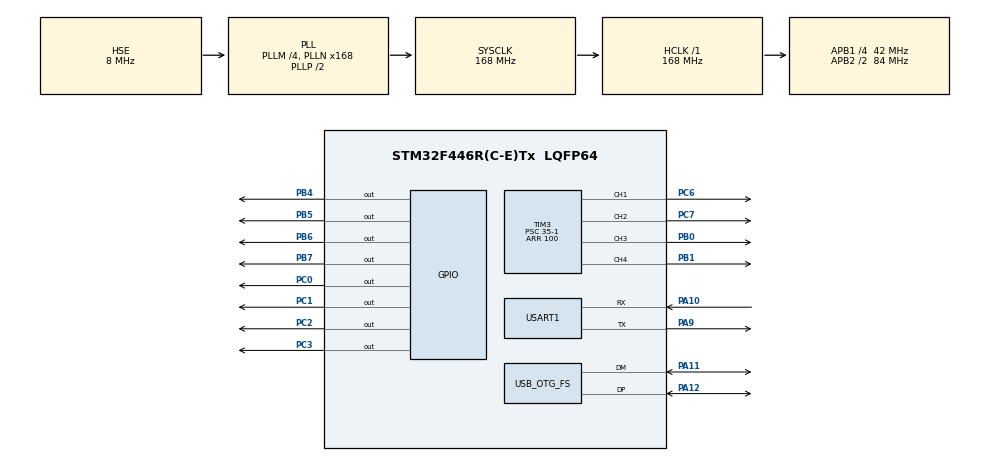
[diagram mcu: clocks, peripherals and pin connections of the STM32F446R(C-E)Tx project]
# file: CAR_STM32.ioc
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Mcu.Family=STM32F4
Mcu.Name=STM32F446R(C-E)Tx
Mcu.Package=LQFP64
NVIC.OTG_FS_IRQn=true\:0\:0\:false\:false\:true\:false\:true\:true
NVIC.PriorityGroup=NVIC_PRIORITYGROUP_4
NVIC.USART1_IRQn=true\:0\:0\:false\:false\:true\:true\:true\:true
PA10.Mode=Asynchronous
PA10.Signal=USART1_RX
PA11.Mode=Device_Only
PA11.Signal=USB_OTG_FS_DM
PA12.Mode=Device_Only
PA12.Signal=USB_OTG_FS_DP
PA9.Mode=Asynchronous
PA9.Signal=USART1_TX
PB0.Signal=S_TIM3_CH3
PB1.Signal=S_TIM3_CH4
PB4.Signal=GPIO_Output
PB5.Signal=GPIO_Output
PB6.Signal=GPIO_Output
PB7.Signal=GPIO_Output
PC0.Signal=GPIO_Output
PC1.Signal=GPIO_Output
PC2.Signal=GPIO_Output
PC3.Signal=GPIO_Output
PC6.Signal=S_TIM3_CH1
PC7.Signal=S_TIM3_CH2
PH0-OSC_IN.Mode=HSE-External-Oscillator
PH0-OSC_IN.Signal=RCC_OSC_IN
PH1-OSC_OUT.Mode=HSE-External-Oscillator
PH1-OSC_OUT.Signal=RCC_OSC_OUT
ProjectManager.HeapSize=0x200
ProjectManager.StackSize=0x400
ProjectManager.TargetToolchain=STM32CubeIDE
RCC.AHBFreq_Value=168000000
RCC.APB1CLKDivider=RCC_HCLK_DIV4
RCC.APB1Freq_Value=42000000
RCC.APB1TimFreq_Value=84000000
RCC.APB2CLKDivider=RCC_HCLK_DIV2
RCC.APB2Freq_Value=84000000
RCC.APB2TimFreq_Value=168000000
RCC.CortexFreq_Value=168000000
RCC.HCLKFreq_Value=168000000
RCC.HSE_VALUE=8000000
RCC.PLLM=4
RCC.PLLN=168
RCC.PLLQ=7
RCC.PLLSourceVirtual=RCC_PLLSOURCE_HSE
RCC.SYSCLKFreq_VALUE=168000000
RCC.SYSCLKSource=RCC_SYSCLKSOURCE_PLLCLK
RCC.USBFreq_Value=48000000
RCC.VCOOutputFreq_Value=336000000
SH.S_TIM3_CH1.0=TIM3_CH1,PWM Generation1 CH1
SH.S_TIM3_CH2.0=TIM3_CH2,PWM Generation2 CH2
SH.S_TIM3_CH3.0=TIM3_CH3,PWM Generation3 CH3
SH.S_TIM3_CH4.0=TIM3_CH4,PWM Generation4 CH4
TIM3.Channel-PWM\ Generation1\ CH1=TIM_CHANNEL_1
TIM3.Channel-PWM\ Generation2\ CH2=TIM_CHANNEL_2
TIM3.Channel-PWM\ Generation3\ CH3=TIM_CHANNEL_3
TIM3.Channel-PWM\ Generation4\ CH4=TIM_CHANNEL_4
TIM3.Period=100
TIM3.Prescaler=35-1
USART1.VirtualMode=VM_ASYNC
USB_DEVICE.CLASS_NAME_FS=CDC
USB_DEVICE.VirtualMode-CDC_FS=Cdc
USB_DEVICE.VirtualModeFS=Cdc_FS
USB_OTG_FS.VirtualMode=Device_Only
VP_TIM3_VS_ClockSourceINT.Mode=Internal
VP_USB_DEVICE_VS_USB_DEVICE_CDC_FS.Mode=CDC_FS
board=custom

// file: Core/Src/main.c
/* USER CODE BEGIN Header */
/**
  ******************************************************************************
  * @file           : main.c
  * @brief          : Main program body
  ******************************************************************************
  * @attention
  *
  * Copyright (c) 2025 STMicroelectronics.
  * All rights reserved.
  *
  * This software is licensed under terms that can be found in the LICENSE file
  * in the root directory of this software component.
  * If no LICENSE file comes with this software, it is provided AS-IS.
  *
  ******************************************************************************
  */
/* USER CODE END Header */
#include "main.h"
#include "usb_device.h"

/* USER CODE BEGIN Includes */
#include "usbd_cdc_if.h"
#include <string.h>
#include <math.h>
/* USER CODE END Includes */

/* USER CODE BEGIN PD */
#define TRUE 1
#define PI 3.14159265
/* USER CODE END PD */

TIM_HandleTypeDef htim3;

UART_HandleTypeDef huart1;

void SystemClock_Config(void);
static void MX_GPIO_Init(void);
static void MX_TIM3_Init(void);
static void MX_USART1_UART_Init(void);

/* USER CODE BEGIN 0 */

char RxBuff[7]; //Received data buffer
char usbCdcData[30];
int speed = 80;
int clutch = 0;

void motorStop() // Tested and works
{
	CDC_Transmit_FS((uint8_t*)"Motors Stop\r\n", strlen("Motors Stop\r\n"));

    TIM1->CCR1 = 0;
    TIM1->CCR2 = 0;
    TIM1->CCR3 = 0;
    TIM1->CCR4 = 0;
	//Front Right
	HAL_GPIO_WritePin(GPIOC, GPIO_PIN_0, GPIO_PIN_RESET);
	HAL_GPIO_WritePin(GPIOC, GPIO_PIN_1, GPIO_PIN_RESET);
	//htim3.Instance->CCR1 = 0;

	//Rear Right
	HAL_GPIO_WritePin(GPIOC, GPIO_PIN_2, GPIO_PIN_RESET);
	HAL_GPIO_WritePin(GPIOC, GPIO_PIN_3, GPIO_PIN_RESET);
	//htim3.Instance->CCR2 = 0;

	//Front Left
	HAL_GPIO_WritePin(GPIOB, GPIO_PIN_7, GPIO_PIN_RESET);
	HAL_GPIO_WritePin(GPIOB, GPIO_PIN_6, GPIO_PIN_RESET);
	//htim3.Instance->CCR3 = 0;

	//Rear Left
	HAL_GPIO_WritePin(GPIOB, GPIO_PIN_5, GPIO_PIN_RESET);
	HAL_GPIO_WritePin(GPIOB, GPIO_PIN_4, GPIO_PIN_RESET);
	//htim3.Instance->CCR4 = 0;

	//HAL_Delay(2000);	//Let them run in that direction for 2 seconds
}

void motorDriveForward(uint8_t speed) // Tested and works
{
	CDC_Transmit_FS((uint8_t*)"Driving forward\r\n", strlen("Driving forward\r\n"));

	//Front Right
	HAL_GPIO_WritePin(GPIOC, GPIO_PIN_0, GPIO_PIN_SET);
	HAL_GPIO_WritePin(GPIOC, GPIO_PIN_1, GPIO_PIN_RESET);
	htim3.Instance->CCR1 = speed;

	//Rear Right
	HAL_GPIO_WritePin(GPIOC, GPIO_PIN_2, GPIO_PIN_SET);
	HAL_GPIO_WritePin(GPIOC, GPIO_PIN_3, GPIO_PIN_RESET);
	htim3.Instance->CCR2 = speed;

	//Front Left
	HAL_GPIO_WritePin(GPIOB, GPIO_PIN_7, GPIO_PIN_RESET);
	HAL_GPIO_WritePin(GPIOB, GPIO_PIN_6, GPIO_PIN_SET);
	htim3.Instance->CCR3 = speed;

	//Rear Left
	HAL_GPIO_WritePin(GPIOB, GPIO_PIN_5, GPIO_PIN_RESET);
	HAL_GPIO_WritePin(GPIOB, GPIO_PIN_4, GPIO_PIN_SET);
	htim3.Instance->CCR4 = speed;

	//HAL_Delay(2000);	//Let them run in that direction for 2 seconds
}

void motorDriveBackward(uint8_t speed) // Tested and works
{
	CDC_Transmit_FS((uint8_t*)"Driving backward\r\n", strlen("Driving backward\r\n"));

	//Front Right
	HAL_GPIO_WritePin(GPIOC, GPIO_PIN_0, GPIO_PIN_RESET);
	HAL_GPIO_WritePin(GPIOC, GPIO_PIN_1, GPIO_PIN_SET);
	htim3.Instance->CCR1 = speed;

	//Rear Right
	HAL_GPIO_WritePin(GPIOC, GPIO_PIN_2, GPIO_PIN_RESET);
	HAL_GPIO_WritePin(GPIOC, GPIO_PIN_3, GPIO_PIN_SET);
	htim3.Instance->CCR2 = speed;

	//Front Left
	HAL_GPIO_WritePin(GPIOB, GPIO_PIN_7, GPIO_PIN_SET);
	HAL_GPIO_WritePin(GPIOB, GPIO_PIN_6, GPIO_PIN_RESET);
	htim3.Instance->CCR3 = speed;

	//Rear Left
	HAL_GPIO_WritePin(GPIOB, GPIO_PIN_5, GPIO_PIN_SET);
	HAL_GPIO_WritePin(GPIOB, GPIO_PIN_4, GPIO_PIN_RESET);
	htim3.Instance->CCR4 = speed;

	//HAL_Delay(2000);	//Let them run in that direction for 2 seconds
}

void motorDriveDForwardRight(uint8_t speed) // Tested and works
{
	CDC_Transmit_FS((uint8_t*)"Driving Diagonally Forward Right\r\n", strlen("Driving Diagonally Forward Right\r\n"));

	//Front Right
	HAL_GPIO_WritePin(GPIOC, GPIO_PIN_0, GPIO_PIN_SET);
	HAL_GPIO_WritePin(GPIOC, GPIO_PIN_1, GPIO_PIN_RESET);
	htim3.Instance->CCR1 = speed;

	//Rear Right
	HAL_GPIO_WritePin(GPIOC, GPIO_PIN_2, GPIO_PIN_SET);
	HAL_GPIO_WritePin(GPIOC, GPIO_PIN_3, GPIO_PIN_RESET);
	htim3.Instance->CCR2 = speed-40;

	//Front Left
	HAL_GPIO_WritePin(GPIOB, GPIO_PIN_7, GPIO_PIN_RESET);
	HAL_GPIO_WritePin(GPIOB, GPIO_PIN_6, GPIO_PIN_SET);
	htim3.Instance->CCR3 = speed-40;

	//Rear Left
	HAL_GPIO_WritePin(GPIOB, GPIO_PIN_5, GPIO_PIN_RESET);
	HAL_GPIO_WritePin(GPIOB, GPIO_PIN_4, GPIO_PIN_SET);
	htim3.Instance->CCR4 = speed;

	//HAL_Delay(2000);	//Let them run in that direction for 2 seconds
}

void motorDriveDForwardLeft(uint8_t speed) // Tested and works
{
	CDC_Transmit_FS((uint8_t*)"Driving Diagonally Forward Left\r\n", strlen("Driving Diagonally Forward Right\r\n"));

	//Front Right
	HAL_GPIO_WritePin(GPIOC, GPIO_PIN_0, GPIO_PIN_SET);
	HAL_GPIO_WritePin(GPIOC, GPIO_PIN_1, GPIO_PIN_RESET);
	htim3.Instance->CCR1 = speed-40;

	//Rear Right
	HAL_GPIO_WritePin(GPIOC, GPIO_PIN_2, GPIO_PIN_SET);
	HAL_GPIO_WritePin(GPIOC, GPIO_PIN_3, GPIO_PIN_RESET);
	htim3.Instance->CCR2 = speed;

	//Front Left
	HAL_GPIO_WritePin(GPIOB, GPIO_PIN_7, GPIO_PIN_RESET);
	HAL_GPIO_WritePin(GPIOB, GPIO_PIN_6, GPIO_PIN_SET);
	htim3.Instance->CCR3 = speed;

	//Rear Left
	HAL_GPIO_WritePin(GPIOB, GPIO_PIN_5, GPIO_PIN_RESET);
	HAL_GPIO_WritePin(GPIOB, GPIO_PIN_4, GPIO_PIN_SET);
	htim3.Instance->CCR4 = speed-40;

	//HAL_Delay(2000);	//Let them run in that direction for 2 seconds
}

void motorDriveDBackwardLeft(uint8_t speed) // Tested and works
{
	CDC_Transmit_FS((uint8_t*)"Driving Diagonally Backward Left\r\n", strlen("Driving Diagonally Backward Left\r\n"));

	//Front Right
	HAL_GPIO_WritePin(GPIOC, GPIO_PIN_0, GPIO_PIN_RESET);
	HAL_GPIO_WritePin(GPIOC, GPIO_PIN_1, GPIO_PIN_SET);
	htim3.Instance->CCR1 = speed;

	//Rear Right
	HAL_GPIO_WritePin(GPIOC, GPIO_PIN_2, GPIO_PIN_RESET);
	HAL_GPIO_WritePin(GPIOC, GPIO_PIN_3, GPIO_PIN_SET);
	htim3.Instance->CCR2 = speed-40;

	//Front Left
	HAL_GPIO_WritePin(GPIOB, GPIO_PIN_7, GPIO_PIN_SET);
	HAL_GPIO_WritePin(GPIOB, GPIO_PIN_6, GPIO_PIN_RESET);
	htim3.Instance->CCR3 = speed-40;

	//Rear Left
	HAL_GPIO_WritePin(GPIOB, GPIO_PIN_5, GPIO_PIN_SET);
	HAL_GPIO_WritePin(GPIOB, GPIO_PIN_4, GPIO_PIN_RESET);
	htim3.Instance->CCR4 = speed;

	//HAL_Delay(2000);	//Let them run in that direction for 2 seconds
}

void motorDriveDBackwardRight(uint8_t speed) // Tested and works
{
	CDC_Transmit_FS((uint8_t*)"Driving Diagonally Backward Right\r\n", strlen("Driving Diagonally Backward Right\r\n"));

	//Front Right
	HAL_GPIO_WritePin(GPIOC, GPIO_PIN_0, GPIO_PIN_RESET);
	HAL_GPIO_WritePin(GPIOC, GPIO_PIN_1, GPIO_PIN_SET);
	htim3.Instance->CCR1 = speed-40;

	//Rear Right
	HAL_GPIO_WritePin(GPIOC, GPIO_PIN_2, GPIO_PIN_RESET);
	HAL_GPIO_WritePin(GPIOC, GPIO_PIN_3, GPIO_PIN_SET);
	htim3.Instance->CCR2 = speed;

	//Front Left
	HAL_GPIO_WritePin(GPIOB, GPIO_PIN_7, GPIO_PIN_SET);
	HAL_GPIO_WritePin(GPIOB, GPIO_PIN_6, GPIO_PIN_RESET);
	htim3.Instance->CCR3 = speed;

	//Rear Left
	HAL_GPIO_WritePin(GPIOB, GPIO_PIN_5, GPIO_PIN_SET);
	HAL_GPIO_WritePin(GPIOB, GPIO_PIN_4, GPIO_PIN_RESET);
	htim3.Instance->CCR4 = speed-40;

	//HAL_Delay(2000);	//Let them run in that direction for 2 seconds
}

void motorDriveSpinRight(uint8_t speed) // Tested and works
{
	CDC_Transmit_FS((uint8_t*)"Car spin to the right (Clockwise)\r\n", strlen("Car spin to the right (Clockwise)\r\n"));

	//Front Right
	HAL_GPIO_WritePin(GPIOC, GPIO_PIN_0, GPIO_PIN_SET);
	HAL_GPIO_WritePin(GPIOC, GPIO_PIN_1, GPIO_PIN_RESET);
	htim3.Instance->CCR1 = speed;

	//Rear Right
	HAL_GPIO_WritePin(GPIOC, GPIO_PIN_2, GPIO_PIN_SET);
	HAL_GPIO_WritePin(GPIOC, GPIO_PIN_3, GPIO_PIN_RESET);
	htim3.Instance->CCR2 = speed;

	//Front Left
	HAL_GPIO_WritePin(GPIOB, GPIO_PIN_7, GPIO_PIN_SET);
	HAL_GPIO_WritePin(GPIOB, GPIO_PIN_6, GPIO_PIN_RESET);
	htim3.Instance->CCR3 = speed;

	//Rear Left
	HAL_GPIO_WritePin(GPIOB, GPIO_PIN_5, GPIO_PIN_SET);
	HAL_GPIO_WritePin(GPIOB, GPIO_PIN_4, GPIO_PIN_RESET);
	htim3.Instance->CCR4 = speed;

	//HAL_Delay(2000);	//Let them run in that direction for 2 seconds
}

void motorDriveSpinLeft(uint8_t speed) // Tested and works
{
	CDC_Transmit_FS((uint8_t*)"Car spin to the left (CounterClockwise)\r\n", strlen("Car spin to the light (CounterClockwise)\r\n"));

	//Front Right
	HAL_GPIO_WritePin(GPIOC, GPIO_PIN_0, GPIO_PIN_RESET);
	HAL_GPIO_WritePin(GPIOC, GPIO_PIN_1, GPIO_PIN_SET);
	htim3.Instance->CCR1 = speed;

	//Rear Right
	HAL_GPIO_WritePin(GPIOC, GPIO_PIN_2, GPIO_PIN_RESET);
	HAL_GPIO_WritePin(GPIOC, GPIO_PIN_3, GPIO_PIN_SET);
	htim3.Instance->CCR2 = speed;

	//Front Left
	HAL_GPIO_WritePin(GPIOB, GPIO_PIN_7, GPIO_PIN_RESET);
	HAL_GPIO_WritePin(GPIOB, GPIO_PIN_6, GPIO_PIN_SET);
	htim3.Instance->CCR3 = speed;

	//Rear Left
	HAL_GPIO_WritePin(GPIOB, GPIO_PIN_5, GPIO_PIN_RESET);
	HAL_GPIO_WritePin(GPIOB, GPIO_PIN_4, GPIO_PIN_SET);
	htim3.Instance->CCR4 = speed;

	//HAL_Delay(2000);	//Let them run in that direction for 2 seconds
}

void motorDriveSideLeft(uint8_t speed) // Tested and works
{
	CDC_Transmit_FS((uint8_t*)"Driving Sideways to the left\r\n", strlen("Driving Sideways to the left\r\n"));

	//Front Right
	HAL_GPIO_WritePin(GPIOC, GPIO_PIN_0, GPIO_PIN_RESET);
	HAL_GPIO_WritePin(GPIOC, GPIO_PIN_1, GPIO_PIN_SET);
	htim3.Instance->CCR1 = speed;

	//Rear Right
	HAL_GPIO_WritePin(GPIOC, GPIO_PIN_2, GPIO_PIN_SET);
	HAL_GPIO_WritePin(GPIOC, GPIO_PIN_3, GPIO_PIN_RESET);
	htim3.Instance->CCR2 = speed;

	//Front Left
	HAL_GPIO_WritePin(GPIOB, GPIO_PIN_7, GPIO_PIN_SET);
	HAL_GPIO_WritePin(GPIOB, GPIO_PIN_6, GPIO_PIN_RESET);
	htim3.Instance->CCR3 = speed;

	//Rear Left
	HAL_GPIO_WritePin(GPIOB, GPIO_PIN_5, GPIO_PIN_RESET);
	HAL_GPIO_WritePin(GPIOB, GPIO_PIN_4, GPIO_PIN_SET);
	htim3.Instance->CCR4 = speed;

	//HAL_Delay(2000);	//Let them run in that direction for 2 seconds
}

void motorDriveSideRight(uint8_t speed) // Tested and works
{
	CDC_Transmit_FS((uint8_t*)"Driving Sideways to the right\r\n", strlen("Driving Sideways to the right\r\n"));

	//Front Right
	HAL_GPIO_WritePin(GPIOC, GPIO_PIN_0, GPIO_PIN_SET);
	HAL_GPIO_WritePin(GPIOC, GPIO_PIN_1, GPIO_PIN_RESET);
	htim3.Instance->CCR1 = speed;

	//Rear Right
	HAL_GPIO_WritePin(GPIOC, GPIO_PIN_2, GPIO_PIN_RESET);
	HAL_GPIO_WritePin(GPIOC, GPIO_PIN_3, GPIO_PIN_SET);
	htim3.Instance->CCR2 = speed;

	//Front Left
	HAL_GPIO_WritePin(GPIOB, GPIO_PIN_7, GPIO_PIN_RESET);
	HAL_GPIO_WritePin(GPIOB, GPIO_PIN_6, GPIO_PIN_SET);
	htim3.Instance->CCR3 = speed;

	//Rear Left
	HAL_GPIO_WritePin(GPIOB, GPIO_PIN_5, GPIO_PIN_SET);
	HAL_GPIO_WritePin(GPIOB, GPIO_PIN_4, GPIO_PIN_RESET);
	htim3.Instance->CCR4 = speed;

	//HAL_Delay(2000);	//Let them run in that direction for 2 seconds
}

/* USER CODE END 0 */

int main(void)
{

  /* MCU Configuration--------------------------------------------------------*/

  /* Reset of all peripherals, Initializes the Flash interface and the Systick. */
  HAL_Init();

  /* Configure the system clock */
  SystemClock_Config();

  /* Initialize all configured peripherals */
  MX_GPIO_Init();
  MX_USB_DEVICE_Init();
  MX_TIM3_Init();
  MX_USART1_UART_Init();
  /* USER CODE BEGIN 2 */
  HAL_TIM_PWM_Start(&htim3, TIM_CHANNEL_1);
  HAL_TIM_PWM_Start(&htim3, TIM_CHANNEL_2);
  HAL_TIM_PWM_Start(&htim3, TIM_CHANNEL_3);
  HAL_TIM_PWM_Start(&htim3, TIM_CHANNEL_4);

  // Start the first UART receive interrupt
  HAL_UART_Receive_IT(&huart1, RxBuff, 7);

//  Duty cycle
  htim3.Instance->CCR1 = 50;
  htim3.Instance->CCR2 = 50;
  htim3.Instance->CCR3 = 50;
  htim3.Instance->CCR4 = 50;
  /* USER CODE END 2 */

  /* Infinite loop */
  /* USER CODE BEGIN WHILE */
  while (TRUE)
  {
    /* USER CODE END WHILE */

    /* USER CODE BEGIN 3 */
	  //Motor Code

	  /*motorDriveForward(speed);
	  HAL_Delay(1000);
	  motorStop();
	  HAL_Delay(1000);
	  motorDriveBackward(speed);
	  HAL_Delay(1000);
	  motorStop();
	  HAL_Delay(1000);
	  motorDriveDForwardLeft(speed);
	  motorStop();
	  motorDriveDForwardRight(speed);
	  motorStop();
	  motorDriveDBackwardLeft(speed);
      motorStop();
	  motorDriveDBackwardRight(speed);
      motorStop();
	  motorDriveSpinRight(speed);
      motorStop();
	  motorDriveSpinLeft(speed);
      motorStop();
      motorDriveSideRight(speed);
      motorStop();
      motorDriveSideLeft(speed);
      motorStop();
      */

  }
  /* USER CODE END 3 */
}

void SystemClock_Config(void)
{
  RCC_OscInitTypeDef RCC_OscInitStruct = {0};
  RCC_ClkInitTypeDef RCC_ClkInitStruct = {0};

  /** Configure the main internal regulator output voltage
  */
  __HAL_RCC_PWR_CLK_ENABLE();
  __HAL_PWR_VOLTAGESCALING_CONFIG(PWR_REGULATOR_VOLTAGE_SCALE1);

  /** Initializes the RCC Oscillators according to the specified parameters
  * in the RCC_OscInitTypeDef structure.
  */
  RCC_OscInitStruct.OscillatorType = RCC_OSCILLATORTYPE_HSE;
  RCC_OscInitStruct.HSEState = RCC_HSE_ON;
  RCC_OscInitStruct.PLL.PLLState = RCC_PLL_ON;
  RCC_OscInitStruct.PLL.PLLSource = RCC_PLLSOURCE_HSE;
  RCC_OscInitStruct.PLL.PLLM = 4;
  RCC_OscInitStruct.PLL.PLLN = 168;
  RCC_OscInitStruct.PLL.PLLP = RCC_PLLP_DIV2;
  RCC_OscInitStruct.PLL.PLLQ = 7;
  RCC_OscInitStruct.PLL.PLLR = 2;
  if (HAL_RCC_OscConfig(&RCC_OscInitStruct) != HAL_OK)
  {
    Error_Handler();
  }

  /** Initializes the CPU, AHB and APB buses clocks
  */
  RCC_ClkInitStruct.ClockType = RCC_CLOCKTYPE_HCLK|RCC_CLOCKTYPE_SYSCLK
                              |RCC_CLOCKTYPE_PCLK1|RCC_CLOCKTYPE_PCLK2;
  RCC_ClkInitStruct.SYSCLKSource = RCC_SYSCLKSOURCE_PLLCLK;
  RCC_ClkInitStruct.AHBCLKDivider = RCC_SYSCLK_DIV1;
  RCC_ClkInitStruct.APB1CLKDivider = RCC_HCLK_DIV4;
  RCC_ClkInitStruct.APB2CLKDivider = RCC_HCLK_DIV2;

  if (HAL_RCC_ClockConfig(&RCC_ClkInitStruct, FLASH_LATENCY_5) != HAL_OK)
  {
    Error_Handler();
  }
}

static void MX_TIM3_Init(void)
{

  TIM_ClockConfigTypeDef sClockSourceConfig = {0};
  TIM_MasterConfigTypeDef sMasterConfig = {0};
  TIM_OC_InitTypeDef sConfigOC = {0};

  htim3.Instance = TIM3;
  htim3.Init.Prescaler = 35-1;
  htim3.Init.CounterMode = TIM_COUNTERMODE_UP;
  htim3.Init.Period = 100;
  htim3.Init.ClockDivision = TIM_CLOCKDIVISION_DIV1;
  htim3.Init.AutoReloadPreload = TIM_AUTORELOAD_PRELOAD_DISABLE;
  if (HAL_TIM_Base_Init(&htim3) != HAL_OK)
  {
    Error_Handler();
  }
  sClockSourceConfig.ClockSource = TIM_CLOCKSOURCE_INTERNAL;
  if (HAL_TIM_ConfigClockSource(&htim3, &sClockSourceConfig) != HAL_OK)
  {
    Error_Handler();
  }
  if (HAL_TIM_PWM_Init(&htim3) != HAL_OK)
  {
    Error_Handler();
  }
  sMasterConfig.MasterOutputTrigger = TIM_TRGO_RESET;
  sMasterConfig.MasterSlaveMode = TIM_MASTERSLAVEMODE_DISABLE;
  if (HAL_TIMEx_MasterConfigSynchronization(&htim3, &sMasterConfig) != HAL_OK)
  {
    Error_Handler();
  }
  sConfigOC.OCMode = TIM_OCMODE_PWM1;
  sConfigOC.Pulse = 0;
  sConfigOC.OCPolarity = TIM_OCPOLARITY_HIGH;
  sConfigOC.OCFastMode = TIM_OCFAST_DISABLE;
  if (HAL_TIM_PWM_ConfigChannel(&htim3, &sConfigOC, TIM_CHANNEL_1) != HAL_OK)
  {
    Error_Handler();
  }
  if (HAL_TIM_PWM_ConfigChannel(&htim3, &sConfigOC, TIM_CHANNEL_2) != HAL_OK)
  {
    Error_Handler();
  }
  if (HAL_TIM_PWM_ConfigChannel(&htim3, &sConfigOC, TIM_CHANNEL_3) != HAL_OK)
  {
    Error_Handler();
  }
  if (HAL_TIM_PWM_ConfigChannel(&htim3, &sConfigOC, TIM_CHANNEL_4) != HAL_OK)
  {
    Error_Handler();
  }
  HAL_TIM_MspPostInit(&htim3);

}

static void MX_USART1_UART_Init(void)
{

  huart1.Instance = USART1;
  huart1.Init.BaudRate = 115200;
  huart1.Init.WordLength = UART_WORDLENGTH_8B;
  huart1.Init.StopBits = UART_STOPBITS_1;
  huart1.Init.Parity = UART_PARITY_NONE;
  huart1.Init.Mode = UART_MODE_TX_RX;
  huart1.Init.HwFlowCtl = UART_HWCONTROL_NONE;
  huart1.Init.OverSampling = UART_OVERSAMPLING_16;
  if (HAL_UART_Init(&huart1) != HAL_OK)
  {
    Error_Handler();
  }

}

static void MX_GPIO_Init(void)
{
  GPIO_InitTypeDef GPIO_InitStruct = {0};

  /* GPIO Ports Clock Enable */
  __HAL_RCC_GPIOH_CLK_ENABLE();
  __HAL_RCC_GPIOC_CLK_ENABLE();
  __HAL_RCC_GPIOB_CLK_ENABLE();
  __HAL_RCC_GPIOA_CLK_ENABLE();

  /*Configure GPIO pin Output Level */
  HAL_GPIO_WritePin(GPIOC, GPIO_PIN_0|GPIO_PIN_1|GPIO_PIN_2|GPIO_PIN_3, GPIO_PIN_RESET);

  /*Configure GPIO pin Output Level */
  HAL_GPIO_WritePin(GPIOB, GPIO_PIN_4|GPIO_PIN_5|GPIO_PIN_6|GPIO_PIN_7, GPIO_PIN_RESET);

  /*Configure GPIO pins : PC0 PC1 PC2 PC3 */
  GPIO_InitStruct.Pin = GPIO_PIN_0|GPIO_PIN_1|GPIO_PIN_2|GPIO_PIN_3;
  GPIO_InitStruct.Mode = GPIO_MODE_OUTPUT_PP;
  GPIO_InitStruct.Pull = GPIO_NOPULL;
  GPIO_InitStruct.Speed = GPIO_SPEED_FREQ_LOW;
  HAL_GPIO_Init(GPIOC, &GPIO_InitStruct);

  /*Configure GPIO pins : PB4 PB5 PB6 PB7 */
  GPIO_InitStruct.Pin = GPIO_PIN_4|GPIO_PIN_5|GPIO_PIN_6|GPIO_PIN_7;
  GPIO_InitStruct.Mode = GPIO_MODE_OUTPUT_PP;
  GPIO_InitStruct.Pull = GPIO_NOPULL;
  GPIO_InitStruct.Speed = GPIO_SPEED_FREQ_LOW;
  HAL_GPIO_Init(GPIOB, &GPIO_InitStruct);

}

/* USER CODE BEGIN 4 */
void HAL_UART_RxCpltCallback(UART_HandleTypeDef *huart)
{
	sprintf(usbCdcData,"Received: %s\r\n",RxBuff);
	CDC_Transmit_FS((uint8_t*)usbCdcData,sizeof(usbCdcData));

	if (huart->Instance == USART1)
	{
		if(!strcmp(RxBuff, "TOGGLED"))
		{
			if(clutch == 0)
			{
				clutch++;
			}
			else if(clutch == 1)
			{
				clutch--;
			}
		}
		if(clutch == 0)
		{
			if(!strcmp(RxBuff,"MOVE_F0"))
			{
				motorDriveForward(speed);
			}
			else if(!strcmp(RxBuff,"MOVE_F1"))
			{
				motorDriveBackward(speed);
			}
			else if(!strcmp(RxBuff,"MOVE_F2"))
			{
				motorDriveDForwardLeft(speed);
			}
			else if(!strcmp(RxBuff,"MOVE_F3"))
			{
				motorDriveDForwardRight(speed);
			}
			else if(!strcmp(RxBuff,"MOVE_F4"))
			{
				motorDriveDBackwardLeft(speed);
			}
			else if(!strcmp(RxBuff, "MOVE_F5"))
			{
				motorStop();
			}
		}
		else if(clutch == 1)
		{
			if(!strcmp(RxBuff,"MOVE_F0"))
			{
				motorDriveDBackwardRight(speed);
			}
			else if(!strcmp(RxBuff,"MOVE_F1"))
			{
				motorDriveSpinRight(speed);
			}
			else if(!strcmp(RxBuff,"MOVE_F2"))
			{
				motorDriveSpinLeft(speed);
			}
			else if(!strcmp(RxBuff,"MOVE_F3"))
			{
				motorDriveSideRight(speed);
			}
			else if(!strcmp(RxBuff,"MOVE_F4"))
			{
				motorDriveSideLeft(speed);
			}
			else if(!strcmp(RxBuff, "MOVE_F5"))
			{
				motorStop();
			}
		}
	}
	memset(RxBuff,'\0',sizeof(RxBuff)); //Clear the string
	HAL_UART_Receive_IT(&huart1, RxBuff, 7); //Restart UART in Rx mode with interrupt
}
/* USER CODE END 4 */

void Error_Handler(void)
{
  __disable_irq();
  while (1)
  {
  }
}
